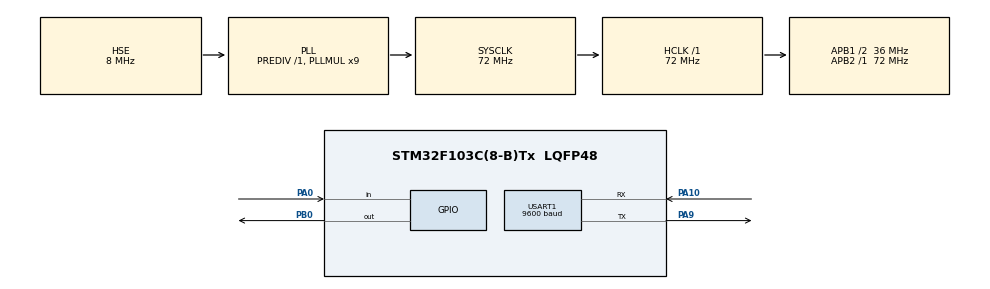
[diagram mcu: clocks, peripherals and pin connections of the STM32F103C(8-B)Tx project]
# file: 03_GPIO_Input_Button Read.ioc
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Mcu.Family=STM32F1
Mcu.Name=STM32F103C(8-B)Tx
Mcu.Package=LQFP48
NVIC.PriorityGroup=NVIC_PRIORITYGROUP_4
PA0-WKUP.GPIO_PuPd=GPIO_PULLUP
PA0-WKUP.Signal=GPIO_Input
PA10.Mode=Asynchronous
PA10.Signal=USART1_RX
PA9.Mode=Asynchronous
PA9.Signal=USART1_TX
PB0.Signal=GPIO_Output
PD0-OSC_IN.Mode=HSE-External-Oscillator
PD0-OSC_IN.Signal=RCC_OSC_IN
PD1-OSC_OUT.Mode=HSE-External-Oscillator
PD1-OSC_OUT.Signal=RCC_OSC_OUT
ProjectManager.HeapSize=0x200
ProjectManager.StackSize=0x400
ProjectManager.TargetToolchain=STM32CubeIDE
RCC.AHBFreq_Value=72000000
RCC.APB1CLKDivider=RCC_HCLK_DIV2
RCC.APB1Freq_Value=36000000
RCC.APB1TimFreq_Value=72000000
RCC.APB2Freq_Value=72000000
RCC.APB2TimFreq_Value=72000000
RCC.HCLKFreq_Value=72000000
RCC.PLLMUL=RCC_PLL_MUL9
RCC.PLLSourceVirtual=RCC_PLLSOURCE_HSE
RCC.SYSCLKFreq_VALUE=72000000
RCC.SYSCLKSource=RCC_SYSCLKSOURCE_PLLCLK
RCC.USBFreq_Value=72000000
USART1.BaudRate=9600
USART1.VirtualMode=VM_ASYNC
VP_SYS_VS_ND.Mode=No_Debug
board=custom

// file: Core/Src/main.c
/* USER CODE BEGIN Header */
/**
  ******************************************************************************
  * @file           : main.c
  * @brief          : Main program body
  ******************************************************************************
  * @attention
  *
  * Copyright (c) 2026 STMicroelectronics.
  * All rights reserved.
  *
  * This software is licensed under terms that can be found in the LICENSE file
  * in the root directory of this software component.
  * If no LICENSE file comes with this software, it is provided AS-IS.
  *
  ******************************************************************************
  */
/* USER CODE END Header */
#include "main.h"
#include "usart.h"
#include "gpio.h"

/* USER CODE BEGIN Includes */
#include <stdio.h>
#include <string.h>
/* USER CODE END Includes */

/* USER CODE BEGIN PV */
uint8_t button_prev = GPIO_PIN_SET;   // Store old button state

uint32_t last_time = 0;               // Store last press time
uint32_t press_count = 0;             // Number of valid presses
char msg[50];                         // UART message buffer
/* USER CODE END PV */

void SystemClock_Config(void);

int main(void)
{

  /* MCU Configuration--------------------------------------------------------*/

  /* Reset of all peripherals, Initializes the Flash interface and the Systick. */
  HAL_Init();

  /* Configure the system clock */
  SystemClock_Config();

  /* Initialize all configured peripherals */
  MX_GPIO_Init();
  MX_USART1_UART_Init();

  /* Infinite loop */
  while (1)
  {

    /* USER CODE BEGIN 3 */

//***********************  Without Debounce  ******************

	  /*if(HAL_GPIO_ReadPin(GPIOA, GPIO_PIN_0) == GPIO_PIN_RESET)
	      {
	          HAL_GPIO_TogglePin(GPIOB, GPIO_PIN_0);
	      }*/

//********************** With Debounce  **********************

	    // Read the button
	    GPIO_PinState button_state = HAL_GPIO_ReadPin(GPIOA, GPIO_PIN_0);

	    // If button is pressed
	    if (button_state == GPIO_PIN_RESET && button_prev == GPIO_PIN_SET)
	    {
	        // Wait 200 ms (debounce)
	        if (HAL_GetTick() - last_time > 200)
	        {
	            // Change LED state
	            HAL_GPIO_TogglePin(GPIOB, GPIO_PIN_0);

	            // Increase press counter
	            press_count++;

	                        // Send counter value via UART
	            sprintf(msg, "Press count = %lu\r\n", press_count);
	            HAL_UART_Transmit(&huart1, (uint8_t*)msg, strlen(msg), 100);

	            // Save current time
	            last_time = HAL_GetTick();
	        }
	    }

	    // Save current button state
	    button_prev = button_state;

  }
  /* USER CODE END 3 */
}

void SystemClock_Config(void)
{
  RCC_OscInitTypeDef RCC_OscInitStruct = {0};
  RCC_ClkInitTypeDef RCC_ClkInitStruct = {0};

  /** Initializes the RCC Oscillators according to the specified parameters
  * in the RCC_OscInitTypeDef structure.
  */
  RCC_OscInitStruct.OscillatorType = RCC_OSCILLATORTYPE_HSE;
  RCC_OscInitStruct.HSEState = RCC_HSE_ON;
  RCC_OscInitStruct.HSEPredivValue = RCC_HSE_PREDIV_DIV1;
  RCC_OscInitStruct.HSIState = RCC_HSI_ON;
  RCC_OscInitStruct.PLL.PLLState = RCC_PLL_ON;
  RCC_OscInitStruct.PLL.PLLSource = RCC_PLLSOURCE_HSE;
  RCC_OscInitStruct.PLL.PLLMUL = RCC_PLL_MUL9;
  if (HAL_RCC_OscConfig(&RCC_OscInitStruct) != HAL_OK)
  {
    Error_Handler();
  }

  /** Initializes the CPU, AHB and APB buses clocks
  */
  RCC_ClkInitStruct.ClockType = RCC_CLOCKTYPE_HCLK|RCC_CLOCKTYPE_SYSCLK
                              |RCC_CLOCKTYPE_PCLK1|RCC_CLOCKTYPE_PCLK2;
  RCC_ClkInitStruct.SYSCLKSource = RCC_SYSCLKSOURCE_PLLCLK;
  RCC_ClkInitStruct.AHBCLKDivider = RCC_SYSCLK_DIV1;
  RCC_ClkInitStruct.APB1CLKDivider = RCC_HCLK_DIV2;
  RCC_ClkInitStruct.APB2CLKDivider = RCC_HCLK_DIV1;

  if (HAL_RCC_ClockConfig(&RCC_ClkInitStruct, FLASH_LATENCY_2) != HAL_OK)
  {
    Error_Handler();
  }
}

void Error_Handler(void)
{
  __disable_irq();
  while (1)
  {
  }
}
